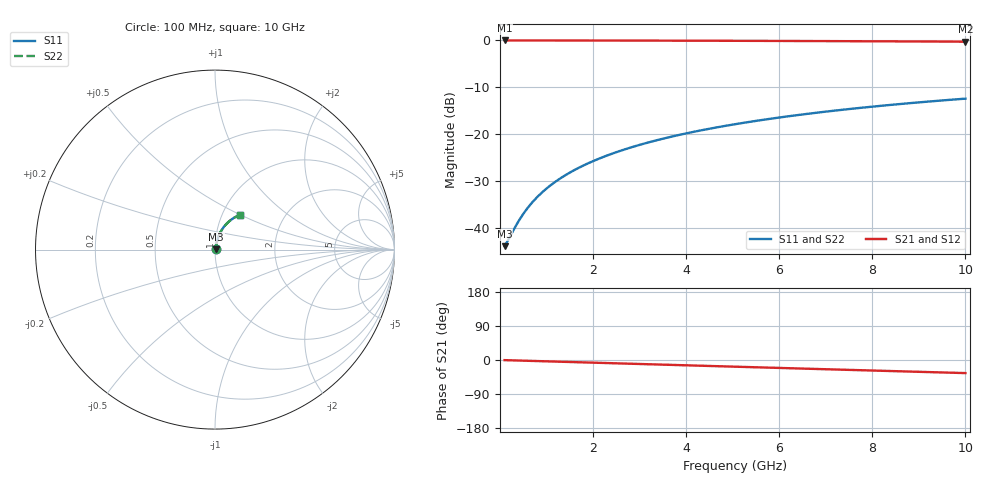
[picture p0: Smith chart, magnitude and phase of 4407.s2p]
# Hz S RI R 50.00
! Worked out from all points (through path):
!   100 points, 100 MHz to 10 GHz, reference 50 ohm
!   highest |S21| = -0.05 dB at 100 MHz (marker M1); lowest = -0.3 dB at 10 GHz (marker M2)
!   group delay of S21, straight-line fit = 9.61 ps
!   lowest |S11| = -43.8 dB at 100 MHz (marker M3), VSWR 1.01, Z = 50.6 + j0.258 ohm
!   |S11| at or under -10 dB: start of sweep to end of sweep
!   |S22| runs from -43.8 to -12.4 dB; largest |S21 - S12| = 0
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1e8  0.00597 0.00255  0.994 -0.00608  0.994 -0.00608  0.00597 0.00255
2e8  0.00605 0.0051  0.9939 -0.0122  0.9939 -0.0122  0.00605 0.0051
4e8  0.00629 0.0102  0.9936 -0.0243  0.9936 -0.0243  0.00629 0.0102
5e8  0.00645 0.0127  0.9934 -0.0304  0.9934 -0.0304  0.00645 0.0127
6e8  0.00664 0.0153  0.9931 -0.0365  0.9931 -0.0365  0.00664 0.0153
7e8  0.00686 0.0178  0.9928 -0.0426  0.9928 -0.0426  0.00686 0.0178
8e8  0.0071 0.0204  0.9925 -0.0486  0.9925 -0.0486  0.0071 0.0204
1e9  0.00769 0.0254  0.9917 -0.0608  0.9917 -0.0608  0.00769 0.0254
1.2e9  0.00839 0.0305  0.9907 -0.0729  0.9907 -0.0729  0.00839 0.0305
1.5e9  0.00968 0.038  0.9889 -0.091  0.9889 -0.091  0.00968 0.038
1.8e9  0.0112 0.0455  0.9867 -0.1091  0.9867 -0.1091  0.0112 0.0455
2.1e9  0.0131 0.0529  0.9841 -0.1271  0.9841 -0.1271  0.0131 0.0529
2.5e9  0.0159 0.0626  0.9801 -0.151  0.9801 -0.151  0.0159 0.0626
2.9e9  0.0192 0.0722  0.9754 -0.1748  0.9754 -0.1748  0.0192 0.0722
3.4e9  0.024 0.084  0.9686 -0.2042  0.9686 -0.2042  0.024 0.084
4.2e9  0.0332 0.102  0.9556 -0.2505  0.9556 -0.2505  0.0332 0.102
5.1e9  0.0454 0.1211  0.938 -0.3014  0.938 -0.3014  0.0454 0.1211
5.9e9  0.0579 0.1368  0.9198 -0.3454  0.9198 -0.3454  0.0579 0.1368
6.7e9  0.0719 0.1511  0.8994 -0.388  0.8994 -0.388  0.0719 0.1511
7.5e9  0.087 0.164  0.8769 -0.4291  0.8769 -0.4291  0.087 0.164
8.4e9  0.1054 0.1766  0.8492 -0.4734  0.8492 -0.4734  0.1054 0.1766
1e10  0.1406 0.1939  0.7945 -0.5469  0.7945 -0.5469  0.1406 0.1939
